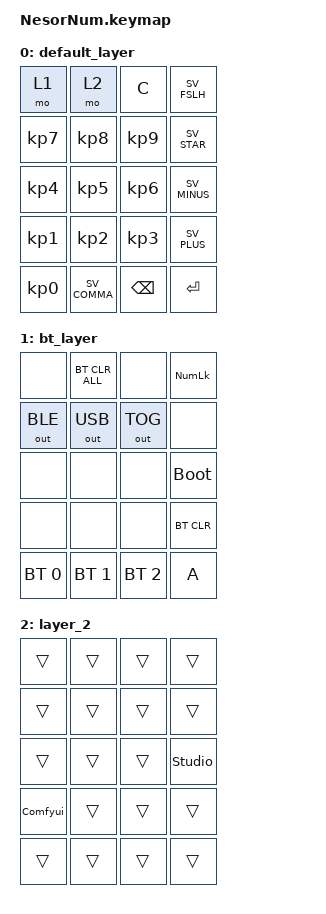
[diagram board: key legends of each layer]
#include "keys_sv.h"
#include <behaviors.dtsi>
#include <dt-bindings/zmk/bt.h>
#include <dt-bindings/zmk/keys.h>
#include <dt-bindings/zmk/outputs.h>

/ {
    macros {
        Telefonnummer: Telefonnummer {
            compatible = "zmk,behavior-macro";
            #binding-cells = <0>;
            bindings = <&kp N0 &kp N7 &kp N2 &kp N3 &kp N3 &kp N3 &kp N2 &kp N4 &kp N7 &kp N3>;
            label = "TELEFONNUMMER";
        };

        Comfyui: Comfyui {
            compatible = "zmk,behavior-macro";
            #binding-cells = <0>;
            bindings = <&kp N1 &kp N0 &kp DOT &kp N1 &kp N0 &kp DOT &kp N2 &kp N0 &kp DOT &kp N6 &kp N6 &kp SV_COLON &kp N8 &kp N1 &kp N8 &kp N8>;
            label = "COMFYUI";
        };
    };

    combos {
        compatible = "zmk,combos";

        punkt {
            bindings = <&kp PERIOD>;
            key-positions = <16 17>;
        };
    };

    keymap {
        compatible = "zmk,keymap";

        default_layer {
            bindings = <
&mo 1      &mo 2         &kp C          &kp SV_FSLH
&kp KP_N7  &kp KP_N8     &kp KP_N9      &kp SV_STAR
&kp KP_N4  &kp KP_N5     &kp KP_N6      &kp SV_MINUS
&kp KP_N1  &kp KP_N2     &kp KP_N3      &kp SV_PLUS
&kp KP_N0  &kp SV_COMMA  &kp BACKSPACE  &kp RET
            >;
        };

        bt_layer {
            bindings = <
&none         &bt BT_CLR_ALL  &none         &kp KP_NUMLOCK
&out OUT_BLE  &out OUT_USB    &out OUT_TOG  &none
&none         &none           &none         &bootloader
&none         &none           &none         &bt BT_CLR
&bt BT_SEL 0  &bt BT_SEL 1    &bt BT_SEL 2  &kp A
            >;
        };

        layer_2 {
            bindings = <
&trans    &trans  &trans  &trans
&trans    &trans  &trans  &trans
&trans    &trans  &trans  &studio_unlock
&Comfyui  &trans  &trans  &trans
&trans    &trans  &trans  &trans
            >;
        };
    };
};
